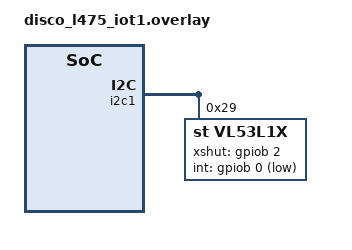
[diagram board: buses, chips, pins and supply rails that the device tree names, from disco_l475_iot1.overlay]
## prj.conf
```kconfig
CONFIG_STDOUT_CONSOLE=y
CONFIG_I2C=y
CONFIG_GPIO=y
CONFIG_SENSOR=y
CONFIG_VL53L1X=y
CONFIG_VL53L1X_INTERRUPT_MODE=y
CONFIG_VL53L1X_XSHUT=y

#debug
CONFIG_DEBUG=y
CONFIG_LOG=y
CONFIG_SENSOR_LOG_LEVEL_DBG=y
CONFIG_CBPRINTF_FP_SUPPORT=y
```

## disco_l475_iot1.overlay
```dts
&i2c1 {
	vl53l1x@29 {
		compatible = "st,vl53l1x";
		reg = <0x29>;
		xshut-gpios = <&gpiob 2 GPIO_ACTIVE_HIGH>;
        int-gpios = <&gpiob 0 (GPIO_ACTIVE_LOW | GPIO_PULL_UP)>;
	};
};
```

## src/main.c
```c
/*
 * Copyright (c) 2017 STMicroelectronics
 *
 * SPDX-License-Identifier: Apache-2.0
 */

#include <zephyr/kernel.h>
#include <zephyr/device.h>
#include <zephyr/drivers/sensor.h>
#include <stdio.h>
#include <zephyr/sys/printk.h>

void main(void)
{
	const struct device *const dev = DEVICE_DT_GET_ONE(st_vl53l1x);
	struct sensor_value value;
	int ret;

	if (!device_is_ready(dev)) {
		printk("sensor: device not ready.\n");
		return;
	}

	// TODO: use attr set to set the distance to a different mode

	while (1) {
		ret = sensor_sample_fetch(dev);
		if (ret) {
			printk("sensor_sample_fetch failed ret %d\n", ret);
			return;
		}

		ret = sensor_channel_get(dev,
					 SENSOR_CHAN_DISTANCE,
					 &value);
		printf("distance is %.3fm\n", sensor_value_to_double(&value));

		k_sleep(K_MSEC(1000));
	}
}
```
